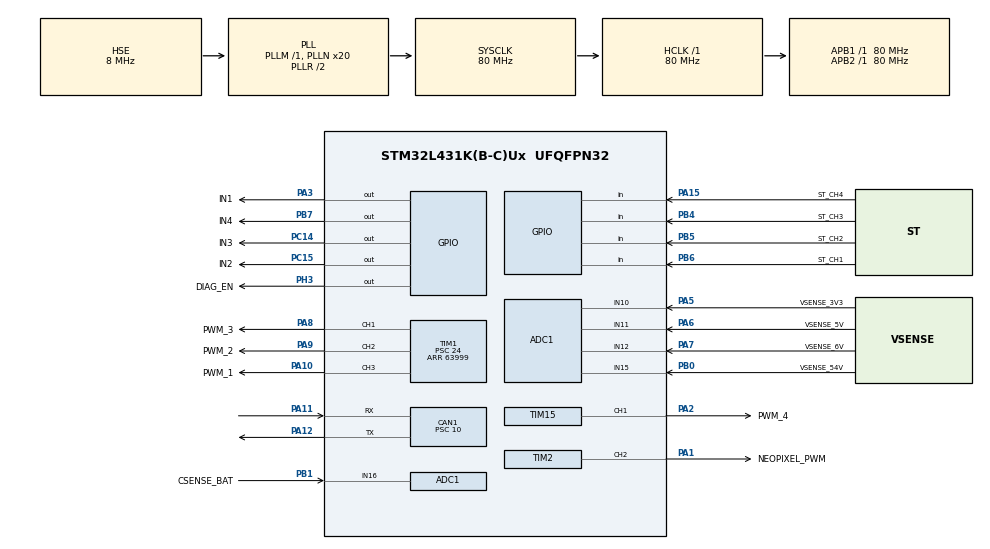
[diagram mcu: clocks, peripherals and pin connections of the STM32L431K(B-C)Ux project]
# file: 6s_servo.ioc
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ADC1.Channel-1\#ChannelRegularConversion=ADC_CHANNEL_16
ADC1.Channel-2\#ChannelRegularConversion=ADC_CHANNEL_11
ADC1.Channel-3\#ChannelRegularConversion=ADC_CHANNEL_10
ADC1.Channel-4\#ChannelRegularConversion=ADC_CHANNEL_15
ADC1.Channel-5\#ChannelRegularConversion=ADC_CHANNEL_12
ADC1.NbrOfConversion=5
ADC1.NbrOfConversionFlag=1
ADC1.OffsetNumber-1\#ChannelRegularConversion=ADC_OFFSET_NONE
ADC1.OffsetNumber-2\#ChannelRegularConversion=ADC_OFFSET_NONE
ADC1.OffsetNumber-3\#ChannelRegularConversion=ADC_OFFSET_NONE
ADC1.OffsetNumber-4\#ChannelRegularConversion=ADC_OFFSET_NONE
ADC1.OffsetNumber-5\#ChannelRegularConversion=ADC_OFFSET_NONE
ADC1.Rank-1\#ChannelRegularConversion=1
ADC1.Rank-2\#ChannelRegularConversion=2
ADC1.Rank-3\#ChannelRegularConversion=3
ADC1.Rank-4\#ChannelRegularConversion=4
ADC1.Rank-5\#ChannelRegularConversion=5
ADC1.SamplingTime-1\#ChannelRegularConversion=ADC_SAMPLETIME_6CYCLES_5
ADC1.SamplingTime-2\#ChannelRegularConversion=ADC_SAMPLETIME_6CYCLES_5
ADC1.SamplingTime-3\#ChannelRegularConversion=ADC_SAMPLETIME_6CYCLES_5
ADC1.SamplingTime-4\#ChannelRegularConversion=ADC_SAMPLETIME_6CYCLES_5
ADC1.SamplingTime-5\#ChannelRegularConversion=ADC_SAMPLETIME_6CYCLES_5
ADC1.master=1
CAN1.BS1=CAN_BS1_5TQ
CAN1.BS2=CAN_BS2_2TQ
CAN1.CalculateBaudRate=1000000
CAN1.CalculateTimeBit=1000
CAN1.CalculateTimeQuantum=125.0
CAN1.Prescaler=10
Dma.ADC1.0.Direction=DMA_PERIPH_TO_MEMORY
Dma.ADC1.0.Instance=DMA1_Channel1
Dma.ADC1.0.MemDataAlignment=DMA_MDATAALIGN_WORD
Dma.ADC1.0.MemInc=DMA_MINC_ENABLE
Dma.ADC1.0.Mode=DMA_NORMAL
Dma.ADC1.0.PeriphDataAlignment=DMA_PDATAALIGN_HALFWORD
Dma.ADC1.0.PeriphInc=DMA_PINC_DISABLE
Dma.ADC1.0.Priority=DMA_PRIORITY_LOW
Dma.Request0=ADC1
Dma.Request1=TIM2_CH2/CH4
Dma.TIM2_CH2/CH4.1.Direction=DMA_MEMORY_TO_PERIPH
Dma.TIM2_CH2/CH4.1.Instance=DMA1_Channel7
Dma.TIM2_CH2/CH4.1.MemDataAlignment=DMA_MDATAALIGN_WORD
Dma.TIM2_CH2/CH4.1.MemInc=DMA_MINC_ENABLE
Dma.TIM2_CH2/CH4.1.Mode=DMA_NORMAL
Dma.TIM2_CH2/CH4.1.PeriphDataAlignment=DMA_PDATAALIGN_WORD
Dma.TIM2_CH2/CH4.1.PeriphInc=DMA_PINC_DISABLE
Dma.TIM2_CH2/CH4.1.Priority=DMA_PRIORITY_LOW
Mcu.Family=STM32L4
Mcu.Name=STM32L431K(B-C)Ux
Mcu.Package=UFQFPN32
NVIC.CAN1_RX0_IRQn=true\:0\:0\:false\:false\:true\:true\:true\:true
NVIC.DMA1_Channel1_IRQn=true\:0\:0\:false\:false\:true\:false\:true\:true
NVIC.DMA1_Channel7_IRQn=true\:0\:0\:false\:false\:true\:false\:true\:true
NVIC.PriorityGroup=NVIC_PRIORITYGROUP_4
PA0.Mode=HSE-External-Clock-Source-for-LittleOrca
PA0.Signal=RCC_CK_IN
PA1.GPIO_Label=NEOPIXEL_PWM
PA1.GPIO_Speed=GPIO_SPEED_FREQ_VERY_HIGH
PA1.Signal=S_TIM2_CH2
PA10.GPIO_Label=PWM_1
PA10.Signal=S_TIM1_CH3
PA11.Mode=CAN_Activate
PA11.Signal=CAN1_RX
PA12.Mode=CAN_Activate
PA12.Signal=CAN1_TX
PA13\ (JTMS-SWDIO).Mode=Trace_Asynchronous_SW
PA13\ (JTMS-SWDIO).Signal=SYS_JTMS-SWDIO
PA14\ (JTCK-SWCLK).Mode=Trace_Asynchronous_SW
PA14\ (JTCK-SWCLK).Signal=SYS_JTCK-SWCLK
PA15\ (JTDI).GPIO_Label=ST_CH4
PA15\ (JTDI).GPIO_PuPd=GPIO_PULLUP
PA15\ (JTDI).Signal=GPIO_Input
PA2.GPIO_Label=PWM_4
PA2.Signal=S_TIM15_CH1
PA3.GPIO_Label=IN1
PA3.GPIO_Speed=GPIO_SPEED_FREQ_VERY_HIGH
PA3.PinState=GPIO_PIN_SET
PA3.Signal=GPIO_Output
PA5.GPIO_Label=VSENSE_3V3
PA5.Signal=ADCx_IN10
PA6.GPIO_Label=VSENSE_5V
PA6.Signal=ADCx_IN11
PA7.GPIO_Label=VSENSE_6V
PA7.Signal=ADCx_IN12
PA8.GPIO_Label=PWM_3
PA8.Signal=S_TIM1_CH1
PA9.GPIO_Label=PWM_2
PA9.Signal=S_TIM1_CH2
PB0.GPIO_Label=VSENSE_54V
PB0.Signal=ADCx_IN15
PB1.GPIO_Label=CSENSE_BAT
PB1.Signal=ADCx_IN16
PB3\ (JTDO-TRACESWO).Mode=Trace_Asynchronous_SW
PB3\ (JTDO-TRACESWO).Signal=SYS_JTDO-SWO
PB4\ (NJTRST).GPIO_Label=ST_CH3
PB4\ (NJTRST).GPIO_PuPd=GPIO_PULLUP
PB4\ (NJTRST).Signal=GPIO_Input
PB5.GPIO_Label=ST_CH2
PB5.GPIO_PuPd=GPIO_PULLUP
PB5.Signal=GPIO_Input
PB6.GPIO_Label=ST_CH1
PB6.GPIO_PuPd=GPIO_PULLUP
PB6.Signal=GPIO_Input
PB7.GPIO_Label=IN4
PB7.GPIO_Speed=GPIO_SPEED_FREQ_VERY_HIGH
PB7.PinState=GPIO_PIN_SET
PB7.Signal=GPIO_Output
PC14-OSC32_IN\ (PC14).GPIO_Label=IN3
PC14-OSC32_IN\ (PC14).GPIO_Speed=GPIO_SPEED_FREQ_LOW
PC14-OSC32_IN\ (PC14).PinState=GPIO_PIN_SET
PC14-OSC32_IN\ (PC14).Signal=GPIO_Output
PC15-OSC32_OUT\ (PC15).GPIO_Label=IN2
PC15-OSC32_OUT\ (PC15).GPIO_Speed=GPIO_SPEED_FREQ_LOW
PC15-OSC32_OUT\ (PC15).PinState=GPIO_PIN_SET
PC15-OSC32_OUT\ (PC15).Signal=GPIO_Output
PH3-BOOT0.GPIO_Label=DIAG_EN
PH3-BOOT0.GPIO_Speed=GPIO_SPEED_FREQ_VERY_HIGH
PH3-BOOT0.Signal=GPIO_Output
ProjectManager.HeapSize=0x200
ProjectManager.StackSize=0x400
ProjectManager.TargetToolchain=STM32CubeIDE
RCC.ADCFreq_Value=32000000
RCC.AHBFreq_Value=80000000
RCC.APB1Freq_Value=80000000
RCC.APB1TimFreq_Value=80000000
RCC.APB2Freq_Value=80000000
RCC.APB2TimFreq_Value=80000000
RCC.CortexFreq_Value=80000000
RCC.HCLKFreq_Value=80000000
RCC.HSE_VALUE=8000000
RCC.HSI48_VALUE=48000000
RCC.HSI_VALUE=16000000
RCC.LSE_VALUE=32768
RCC.MSI_VALUE=4000000
RCC.PLLN=20
RCC.PLLSourceVirtual=RCC_PLLSOURCE_HSE
RCC.SYSCLKFreq_VALUE=80000000
RCC.SYSCLKSource=RCC_SYSCLKSOURCE_PLLCLK
RCC.VCOOutputFreq_Value=160000000
SH.ADCx_IN10.0=ADC1_IN10,IN10-Single-Ended
SH.ADCx_IN11.0=ADC1_IN11,IN11-Single-Ended
SH.ADCx_IN12.0=ADC1_IN12,IN12-Single-Ended
SH.ADCx_IN15.0=ADC1_IN15,IN15-Single-Ended
SH.ADCx_IN16.0=ADC1_IN16,IN16-Single-Ended
SH.S_TIM15_CH1.0=TIM15_CH1,PWM Generation1 CH1
SH.S_TIM1_CH1.0=TIM1_CH1,PWM Generation1 CH1
SH.S_TIM1_CH2.0=TIM1_CH2,PWM Generation2 CH2
SH.S_TIM1_CH3.0=TIM1_CH3,PWM Generation3 CH3
SH.S_TIM2_CH2.0=TIM2_CH2,PWM Generation2 CH2
TIM1.Channel-PWM\ Generation1\ CH1=TIM_CHANNEL_1
TIM1.Channel-PWM\ Generation2\ CH2=TIM_CHANNEL_2
TIM1.Channel-PWM\ Generation3\ CH3=TIM_CHANNEL_3
TIM1.Period=63999
TIM1.Prescaler=24
TIM15.Channel-PWM\ Generation1\ CH1=TIM_CHANNEL_1
TIM15.Period=63999
TIM15.Prescaler=24
TIM2.Channel-PWM\ Generation2\ CH2=TIM_CHANNEL_2
TIM2.OCMode_PWM-PWM\ Generation2\ CH2=TIM_OCMODE_PWM2
TIM2.OCPolarity_2=TIM_OCPOLARITY_LOW
TIM2.Period=88
TIM2.Prescaler=0
VP_TIM15_VS_ClockSourceINT.Mode=Internal
VP_TIM1_VS_ClockSourceINT.Mode=Internal
VP_TIM2_VS_ClockSourceINT.Mode=Internal
board=custom

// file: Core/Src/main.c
/* USER CODE BEGIN Header */
/**
  ******************************************************************************
  * @file           : main.c
  * @brief          : Main program body
  ******************************************************************************
  * @attention
  *
  * Copyright (c) 2025 STMicroelectronics.
  * All rights reserved.
  *
  * This software is licensed under terms that can be found in the LICENSE file
  * in the root directory of this software component.
  * If no LICENSE file comes with this software, it is provided AS-IS.
  *
  ******************************************************************************
  */
/* USER CODE END Header */
#include "main.h"

/* USER CODE BEGIN Includes */
#include "adc.h"
#include "can.h"
#include "dronecan_msgs.h"
#include "neopixel.h"
#include "servo.h"
/* USER CODE END Includes */

/* USER CODE BEGIN PTD */
extern struct uavcan_protocol_NodeStatus nodeStatus;
/* USER CODE END PTD */

ADC_HandleTypeDef hadc1;
DMA_HandleTypeDef hdma_adc1;

CAN_HandleTypeDef hcan1;

TIM_HandleTypeDef htim1;
TIM_HandleTypeDef htim2;
TIM_HandleTypeDef htim15;
DMA_HandleTypeDef hdma_tim2_ch2_ch4;

void SystemClock_Config(void);
static void MX_GPIO_Init(void);
static void MX_DMA_Init(void);
static void MX_ADC1_Init(void);
static void MX_CAN1_Init(void);
static void MX_TIM1_Init(void);
static void MX_TIM2_Init(void);
static void MX_TIM15_Init(void);

int main(void)
{

  /* USER CODE BEGIN 1 */
  nodeStatus.health = UAVCAN_PROTOCOL_NODESTATUS_HEALTH_OK;
  nodeStatus.mode = UAVCAN_PROTOCOL_NODESTATUS_MODE_INITIALIZATION;
  nodeStatus.sub_mode = 0;
  nodeStatus.vendor_specific_status_code = 0;
  /* USER CODE END 1 */

  /* MCU Configuration--------------------------------------------------------*/

  /* Reset of all peripherals, Initializes the Flash interface and the Systick. */
  HAL_Init();

  /* Configure the system clock */
  SystemClock_Config();

  /* Initialize all configured peripherals */
  MX_GPIO_Init();
  MX_DMA_Init();
  MX_ADC1_Init();
  MX_CAN1_Init();
  MX_TIM1_Init();
  MX_TIM2_Init();
  MX_TIM15_Init();
  /* USER CODE BEGIN 2 */
  initNeopixel();
  initADC();
  initServos();
  initCAN();

  nodeStatus.mode = UAVCAN_PROTOCOL_NODESTATUS_MODE_OPERATIONAL;
  /* USER CODE END 2 */

  /* Infinite loop */
  /* USER CODE BEGIN WHILE */
  while (1)
  {
    sendCANTx();
    periodicCANTasks();
    periodicADCTasks();
    /* USER CODE END WHILE */

  }
}

void SystemClock_Config(void)
{
  RCC_OscInitTypeDef RCC_OscInitStruct = {0};
  RCC_ClkInitTypeDef RCC_ClkInitStruct = {0};

  /** Configure the main internal regulator output voltage
  */
  if (HAL_PWREx_ControlVoltageScaling(PWR_REGULATOR_VOLTAGE_SCALE1) != HAL_OK)
  {
    Error_Handler();
  }

  /** Initializes the RCC Oscillators according to the specified parameters
  * in the RCC_OscInitTypeDef structure.
  */
  RCC_OscInitStruct.OscillatorType = RCC_OSCILLATORTYPE_HSE;
  RCC_OscInitStruct.HSEState = RCC_HSE_BYPASS;
  RCC_OscInitStruct.PLL.PLLState = RCC_PLL_ON;
  RCC_OscInitStruct.PLL.PLLSource = RCC_PLLSOURCE_HSE;
  RCC_OscInitStruct.PLL.PLLM = 1;
  RCC_OscInitStruct.PLL.PLLN = 20;
  RCC_OscInitStruct.PLL.PLLP = RCC_PLLP_DIV7;
  RCC_OscInitStruct.PLL.PLLQ = RCC_PLLQ_DIV2;
  RCC_OscInitStruct.PLL.PLLR = RCC_PLLR_DIV2;
  if (HAL_RCC_OscConfig(&RCC_OscInitStruct) != HAL_OK)
  {
    Error_Handler();
  }

  /** Initializes the CPU, AHB and APB buses clocks
  */
  RCC_ClkInitStruct.ClockType = RCC_CLOCKTYPE_HCLK|RCC_CLOCKTYPE_SYSCLK
                              |RCC_CLOCKTYPE_PCLK1|RCC_CLOCKTYPE_PCLK2;
  RCC_ClkInitStruct.SYSCLKSource = RCC_SYSCLKSOURCE_PLLCLK;
  RCC_ClkInitStruct.AHBCLKDivider = RCC_SYSCLK_DIV1;
  RCC_ClkInitStruct.APB1CLKDivider = RCC_HCLK_DIV1;
  RCC_ClkInitStruct.APB2CLKDivider = RCC_HCLK_DIV1;

  if (HAL_RCC_ClockConfig(&RCC_ClkInitStruct, FLASH_LATENCY_4) != HAL_OK)
  {
    Error_Handler();
  }
}

static void MX_ADC1_Init(void)
{

  ADC_ChannelConfTypeDef sConfig = {0};

  /** Common config
  */
  hadc1.Instance = ADC1;
  hadc1.Init.ClockPrescaler = ADC_CLOCK_ASYNC_DIV1;
  hadc1.Init.Resolution = ADC_RESOLUTION_12B;
  hadc1.Init.DataAlign = ADC_DATAALIGN_RIGHT;
  hadc1.Init.ScanConvMode = ADC_SCAN_ENABLE;
  hadc1.Init.EOCSelection = ADC_EOC_SINGLE_CONV;
  hadc1.Init.LowPowerAutoWait = DISABLE;
  hadc1.Init.ContinuousConvMode = DISABLE;
  hadc1.Init.NbrOfConversion = 5;
  hadc1.Init.DiscontinuousConvMode = DISABLE;
  hadc1.Init.ExternalTrigConv = ADC_SOFTWARE_START;
  hadc1.Init.ExternalTrigConvEdge = ADC_EXTERNALTRIGCONVEDGE_NONE;
  hadc1.Init.DMAContinuousRequests = DISABLE;
  hadc1.Init.Overrun = ADC_OVR_DATA_PRESERVED;
  hadc1.Init.OversamplingMode = DISABLE;
  if (HAL_ADC_Init(&hadc1) != HAL_OK)
  {
    Error_Handler();
  }

  /** Configure Regular Channel
  */
  sConfig.Channel = ADC_CHANNEL_16;
  sConfig.Rank = ADC_REGULAR_RANK_1;
  sConfig.SamplingTime = ADC_SAMPLETIME_6CYCLES_5;
  sConfig.SingleDiff = ADC_SINGLE_ENDED;
  sConfig.OffsetNumber = ADC_OFFSET_NONE;
  sConfig.Offset = 0;
  if (HAL_ADC_ConfigChannel(&hadc1, &sConfig) != HAL_OK)
  {
    Error_Handler();
  }

  /** Configure Regular Channel
  */
  sConfig.Channel = ADC_CHANNEL_11;
  sConfig.Rank = ADC_REGULAR_RANK_2;
  if (HAL_ADC_ConfigChannel(&hadc1, &sConfig) != HAL_OK)
  {
    Error_Handler();
  }

  /** Configure Regular Channel
  */
  sConfig.Channel = ADC_CHANNEL_10;
  sConfig.Rank = ADC_REGULAR_RANK_3;
  if (HAL_ADC_ConfigChannel(&hadc1, &sConfig) != HAL_OK)
  {
    Error_Handler();
  }

  /** Configure Regular Channel
  */
  sConfig.Channel = ADC_CHANNEL_15;
  sConfig.Rank = ADC_REGULAR_RANK_4;
  if (HAL_ADC_ConfigChannel(&hadc1, &sConfig) != HAL_OK)
  {
    Error_Handler();
  }

  /** Configure Regular Channel
  */
  sConfig.Channel = ADC_CHANNEL_12;
  sConfig.Rank = ADC_REGULAR_RANK_5;
  if (HAL_ADC_ConfigChannel(&hadc1, &sConfig) != HAL_OK)
  {
    Error_Handler();
  }

}

static void MX_CAN1_Init(void)
{

  hcan1.Instance = CAN1;
  hcan1.Init.Prescaler = 10;
  hcan1.Init.Mode = CAN_MODE_NORMAL;
  hcan1.Init.SyncJumpWidth = CAN_SJW_1TQ;
  hcan1.Init.TimeSeg1 = CAN_BS1_5TQ;
  hcan1.Init.TimeSeg2 = CAN_BS2_2TQ;
  hcan1.Init.TimeTriggeredMode = DISABLE;
  hcan1.Init.AutoBusOff = DISABLE;
  hcan1.Init.AutoWakeUp = DISABLE;
  hcan1.Init.AutoRetransmission = DISABLE;
  hcan1.Init.ReceiveFifoLocked = DISABLE;
  hcan1.Init.TransmitFifoPriority = DISABLE;
  if (HAL_CAN_Init(&hcan1) != HAL_OK)
  {
    Error_Handler();
  }

}

static void MX_TIM1_Init(void)
{

  TIM_ClockConfigTypeDef sClockSourceConfig = {0};
  TIM_MasterConfigTypeDef sMasterConfig = {0};
  TIM_OC_InitTypeDef sConfigOC = {0};
  TIM_BreakDeadTimeConfigTypeDef sBreakDeadTimeConfig = {0};

  htim1.Instance = TIM1;
  htim1.Init.Prescaler = 24;
  htim1.Init.CounterMode = TIM_COUNTERMODE_UP;
  htim1.Init.Period = 63999;
  htim1.Init.ClockDivision = TIM_CLOCKDIVISION_DIV1;
  htim1.Init.RepetitionCounter = 0;
  htim1.Init.AutoReloadPreload = TIM_AUTORELOAD_PRELOAD_DISABLE;
  if (HAL_TIM_Base_Init(&htim1) != HAL_OK)
  {
    Error_Handler();
  }
  sClockSourceConfig.ClockSource = TIM_CLOCKSOURCE_INTERNAL;
  if (HAL_TIM_ConfigClockSource(&htim1, &sClockSourceConfig) != HAL_OK)
  {
    Error_Handler();
  }
  if (HAL_TIM_PWM_Init(&htim1) != HAL_OK)
  {
    Error_Handler();
  }
  sMasterConfig.MasterOutputTrigger = TIM_TRGO_RESET;
  sMasterConfig.MasterOutputTrigger2 = TIM_TRGO2_RESET;
  sMasterConfig.MasterSlaveMode = TIM_MASTERSLAVEMODE_DISABLE;
  if (HAL_TIMEx_MasterConfigSynchronization(&htim1, &sMasterConfig) != HAL_OK)
  {
    Error_Handler();
  }
  sConfigOC.OCMode = TIM_OCMODE_PWM1;
  sConfigOC.Pulse = 0;
  sConfigOC.OCPolarity = TIM_OCPOLARITY_HIGH;
  sConfigOC.OCNPolarity = TIM_OCNPOLARITY_HIGH;
  sConfigOC.OCFastMode = TIM_OCFAST_DISABLE;
  sConfigOC.OCIdleState = TIM_OCIDLESTATE_RESET;
  sConfigOC.OCNIdleState = TIM_OCNIDLESTATE_RESET;
  if (HAL_TIM_PWM_ConfigChannel(&htim1, &sConfigOC, TIM_CHANNEL_1) != HAL_OK)
  {
    Error_Handler();
  }
  if (HAL_TIM_PWM_ConfigChannel(&htim1, &sConfigOC, TIM_CHANNEL_2) != HAL_OK)
  {
    Error_Handler();
  }
  if (HAL_TIM_PWM_ConfigChannel(&htim1, &sConfigOC, TIM_CHANNEL_3) != HAL_OK)
  {
    Error_Handler();
  }
  sBreakDeadTimeConfig.OffStateRunMode = TIM_OSSR_DISABLE;
  sBreakDeadTimeConfig.OffStateIDLEMode = TIM_OSSI_DISABLE;
  sBreakDeadTimeConfig.LockLevel = TIM_LOCKLEVEL_OFF;
  sBreakDeadTimeConfig.DeadTime = 0;
  sBreakDeadTimeConfig.BreakState = TIM_BREAK_DISABLE;
  sBreakDeadTimeConfig.BreakPolarity = TIM_BREAKPOLARITY_HIGH;
  sBreakDeadTimeConfig.BreakFilter = 0;
  sBreakDeadTimeConfig.Break2State = TIM_BREAK2_DISABLE;
  sBreakDeadTimeConfig.Break2Polarity = TIM_BREAK2POLARITY_HIGH;
  sBreakDeadTimeConfig.Break2Filter = 0;
  sBreakDeadTimeConfig.AutomaticOutput = TIM_AUTOMATICOUTPUT_DISABLE;
  if (HAL_TIMEx_ConfigBreakDeadTime(&htim1, &sBreakDeadTimeConfig) != HAL_OK)
  {
    Error_Handler();
  }
  HAL_TIM_MspPostInit(&htim1);

}

static void MX_TIM2_Init(void)
{

  TIM_ClockConfigTypeDef sClockSourceConfig = {0};
  TIM_MasterConfigTypeDef sMasterConfig = {0};
  TIM_OC_InitTypeDef sConfigOC = {0};

  htim2.Instance = TIM2;
  htim2.Init.Prescaler = 0;
  htim2.Init.CounterMode = TIM_COUNTERMODE_UP;
  htim2.Init.Period = 88;
  htim2.Init.ClockDivision = TIM_CLOCKDIVISION_DIV1;
  htim2.Init.AutoReloadPreload = TIM_AUTORELOAD_PRELOAD_DISABLE;
  if (HAL_TIM_Base_Init(&htim2) != HAL_OK)
  {
    Error_Handler();
  }
  sClockSourceConfig.ClockSource = TIM_CLOCKSOURCE_INTERNAL;
  if (HAL_TIM_ConfigClockSource(&htim2, &sClockSourceConfig) != HAL_OK)
  {
    Error_Handler();
  }
  if (HAL_TIM_PWM_Init(&htim2) != HAL_OK)
  {
    Error_Handler();
  }
  sMasterConfig.MasterOutputTrigger = TIM_TRGO_RESET;
  sMasterConfig.MasterSlaveMode = TIM_MASTERSLAVEMODE_DISABLE;
  if (HAL_TIMEx_MasterConfigSynchronization(&htim2, &sMasterConfig) != HAL_OK)
  {
    Error_Handler();
  }
  sConfigOC.OCMode = TIM_OCMODE_PWM2;
  sConfigOC.Pulse = 0;
  sConfigOC.OCPolarity = TIM_OCPOLARITY_LOW;
  sConfigOC.OCFastMode = TIM_OCFAST_DISABLE;
  if (HAL_TIM_PWM_ConfigChannel(&htim2, &sConfigOC, TIM_CHANNEL_2) != HAL_OK)
  {
    Error_Handler();
  }
  HAL_TIM_MspPostInit(&htim2);

}

static void MX_TIM15_Init(void)
{

  TIM_ClockConfigTypeDef sClockSourceConfig = {0};
  TIM_MasterConfigTypeDef sMasterConfig = {0};
  TIM_OC_InitTypeDef sConfigOC = {0};
  TIM_BreakDeadTimeConfigTypeDef sBreakDeadTimeConfig = {0};

  htim15.Instance = TIM15;
  htim15.Init.Prescaler = 24;
  htim15.Init.CounterMode = TIM_COUNTERMODE_UP;
  htim15.Init.Period = 63999;
  htim15.Init.ClockDivision = TIM_CLOCKDIVISION_DIV1;
  htim15.Init.RepetitionCounter = 0;
  htim15.Init.AutoReloadPreload = TIM_AUTORELOAD_PRELOAD_DISABLE;
  if (HAL_TIM_Base_Init(&htim15) != HAL_OK)
  {
    Error_Handler();
  }
  sClockSourceConfig.ClockSource = TIM_CLOCKSOURCE_INTERNAL;
  if (HAL_TIM_ConfigClockSource(&htim15, &sClockSourceConfig) != HAL_OK)
  {
    Error_Handler();
  }
  if (HAL_TIM_PWM_Init(&htim15) != HAL_OK)
  {
    Error_Handler();
  }
  sMasterConfig.MasterOutputTrigger = TIM_TRGO_RESET;
  sMasterConfig.MasterSlaveMode = TIM_MASTERSLAVEMODE_DISABLE;
  if (HAL_TIMEx_MasterConfigSynchronization(&htim15, &sMasterConfig) != HAL_OK)
  {
    Error_Handler();
  }
  sConfigOC.OCMode = TIM_OCMODE_PWM1;
  sConfigOC.Pulse = 0;
  sConfigOC.OCPolarity = TIM_OCPOLARITY_HIGH;
  sConfigOC.OCNPolarity = TIM_OCNPOLARITY_HIGH;
  sConfigOC.OCFastMode = TIM_OCFAST_DISABLE;
  sConfigOC.OCIdleState = TIM_OCIDLESTATE_RESET;
  sConfigOC.OCNIdleState = TIM_OCNIDLESTATE_RESET;
  if (HAL_TIM_PWM_ConfigChannel(&htim15, &sConfigOC, TIM_CHANNEL_1) != HAL_OK)
  {
    Error_Handler();
  }
  sBreakDeadTimeConfig.OffStateRunMode = TIM_OSSR_DISABLE;
  sBreakDeadTimeConfig.OffStateIDLEMode = TIM_OSSI_DISABLE;
  sBreakDeadTimeConfig.LockLevel = TIM_LOCKLEVEL_OFF;
  sBreakDeadTimeConfig.DeadTime = 0;
  sBreakDeadTimeConfig.BreakState = TIM_BREAK_DISABLE;
  sBreakDeadTimeConfig.BreakPolarity = TIM_BREAKPOLARITY_HIGH;
  sBreakDeadTimeConfig.AutomaticOutput = TIM_AUTOMATICOUTPUT_DISABLE;
  if (HAL_TIMEx_ConfigBreakDeadTime(&htim15, &sBreakDeadTimeConfig) != HAL_OK)
  {
    Error_Handler();
  }
  HAL_TIM_MspPostInit(&htim15);

}

static void MX_DMA_Init(void)
{

  /* DMA controller clock enable */
  __HAL_RCC_DMA1_CLK_ENABLE();

  /* DMA interrupt init */
  /* DMA1_Channel1_IRQn interrupt configuration */
  HAL_NVIC_SetPriority(DMA1_Channel1_IRQn, 0, 0);
  HAL_NVIC_EnableIRQ(DMA1_Channel1_IRQn);
  /* DMA1_Channel7_IRQn interrupt configuration */
  HAL_NVIC_SetPriority(DMA1_Channel7_IRQn, 0, 0);
  HAL_NVIC_EnableIRQ(DMA1_Channel7_IRQn);

}

static void MX_GPIO_Init(void)
{
  GPIO_InitTypeDef GPIO_InitStruct = {0};

  /* GPIO Ports Clock Enable */
  __HAL_RCC_GPIOC_CLK_ENABLE();
  __HAL_RCC_GPIOA_CLK_ENABLE();
  __HAL_RCC_GPIOB_CLK_ENABLE();
  __HAL_RCC_GPIOH_CLK_ENABLE();

  /*Configure GPIO pin Output Level */
  HAL_GPIO_WritePin(GPIOC, IN3_Pin|IN2_Pin, GPIO_PIN_SET);

  /*Configure GPIO pin Output Level */
  HAL_GPIO_WritePin(IN1_GPIO_Port, IN1_Pin, GPIO_PIN_SET);

  /*Configure GPIO pin Output Level */
  HAL_GPIO_WritePin(IN4_GPIO_Port, IN4_Pin, GPIO_PIN_SET);

  /*Configure GPIO pin Output Level */
  HAL_GPIO_WritePin(DIAG_EN_GPIO_Port, DIAG_EN_Pin, GPIO_PIN_RESET);

  /*Configure GPIO pins : IN3_Pin IN2_Pin */
  GPIO_InitStruct.Pin = IN3_Pin|IN2_Pin;
  GPIO_InitStruct.Mode = GPIO_MODE_OUTPUT_PP;
  GPIO_InitStruct.Pull = GPIO_NOPULL;
  GPIO_InitStruct.Speed = GPIO_SPEED_FREQ_LOW;
  HAL_GPIO_Init(GPIOC, &GPIO_InitStruct);

  /*Configure GPIO pin : IN1_Pin */
  GPIO_InitStruct.Pin = IN1_Pin;
  GPIO_InitStruct.Mode = GPIO_MODE_OUTPUT_PP;
  GPIO_InitStruct.Pull = GPIO_NOPULL;
  GPIO_InitStruct.Speed = GPIO_SPEED_FREQ_VERY_HIGH;
  HAL_GPIO_Init(IN1_GPIO_Port, &GPIO_InitStruct);

  /*Configure GPIO pin : ST_CH4_Pin */
  GPIO_InitStruct.Pin = ST_CH4_Pin;
  GPIO_InitStruct.Mode = GPIO_MODE_INPUT;
  GPIO_InitStruct.Pull = GPIO_PULLUP;
  HAL_GPIO_Init(ST_CH4_GPIO_Port, &GPIO_InitStruct);

  /*Configure GPIO pins : ST_CH3_Pin ST_CH2_Pin ST_CH1_Pin */
  GPIO_InitStruct.Pin = ST_CH3_Pin|ST_CH2_Pin|ST_CH1_Pin;
  GPIO_InitStruct.Mode = GPIO_MODE_INPUT;
  GPIO_InitStruct.Pull = GPIO_PULLUP;
  HAL_GPIO_Init(GPIOB, &GPIO_InitStruct);

  /*Configure GPIO pin : IN4_Pin */
  GPIO_InitStruct.Pin = IN4_Pin;
  GPIO_InitStruct.Mode = GPIO_MODE_OUTPUT_PP;
  GPIO_InitStruct.Pull = GPIO_NOPULL;
  GPIO_InitStruct.Speed = GPIO_SPEED_FREQ_VERY_HIGH;
  HAL_GPIO_Init(IN4_GPIO_Port, &GPIO_InitStruct);

  /*Configure GPIO pin : DIAG_EN_Pin */
  GPIO_InitStruct.Pin = DIAG_EN_Pin;
  GPIO_InitStruct.Mode = GPIO_MODE_OUTPUT_PP;
  GPIO_InitStruct.Pull = GPIO_NOPULL;
  GPIO_InitStruct.Speed = GPIO_SPEED_FREQ_VERY_HIGH;
  HAL_GPIO_Init(DIAG_EN_GPIO_Port, &GPIO_InitStruct);

}

void Error_Handler(void)
{
  /* USER CODE BEGIN Error_Handler_Debug */
  /* User can add his own implementation to report the HAL error return state */
  __disable_irq();
  while (1)
  {
    __NOP();
  }
  /* USER CODE END Error_Handler_Debug */
}
